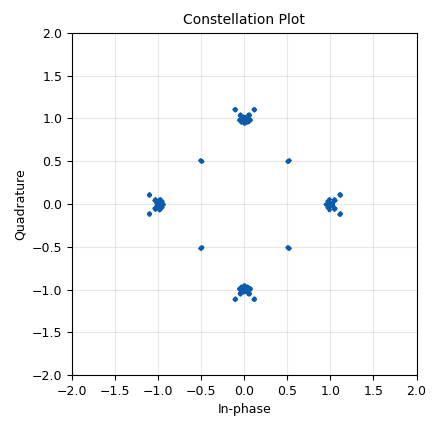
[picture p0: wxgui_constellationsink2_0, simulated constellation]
<?xml version='1.0' encoding='utf-8'?>
<flow_graph>
<block>
<key>options</key>
<param><key>id</key><value>top_block</value></param>
<param><key>generate_options</key><value>wx_gui</value></param>
<param><key>category</key><value>Custom</value></param>
</block>
<block>
<key>variable</key>
<param><key>id</key><value>gain</value></param>
<param><key>value</key><value>30</value></param>
</block>
<block>
<key>variable</key>
<param><key>id</key><value>freq</value></param>
<param><key>value</key><value>2.421e9</value></param>
</block>
<block>
<key>variable</key>
<param><key>id</key><value>samp_rate</value></param>
<param><key>value</key><value>320e3</value></param>
</block>
<block>
<key>analog_random_source_x</key>
<param><key>id</key><value>analog_random_source_x_0</value></param>
<param><key>type</key><value>byte</value></param>
<param><key>min</key><value>0</value></param>
<param><key>max</key><value>2</value></param>
<param><key>num_samps</key><value>10000000</value></param>
<param><key>repeat</key><value>True</value></param>
</block>
<block>
<key>digital_psk_mod</key>
<param><key>id</key><value>digital_psk_mod_0</value></param>
<param><key>constellation_points</key><value>4</value></param>
<param><key>mod_code</key><value>"gray"</value></param>
<param><key>differential</key><value>True</value></param>
<param><key>samples_per_symbol</key><value>2</value></param>
<param><key>excess_bw</key><value>350e-3</value></param>
</block>
<block>
<key>blocks_throttle</key>
<param><key>id</key><value>blocks_throttle_0</value></param>
<param><key>type</key><value>complex</value></param>
<param><key>samples_per_second</key><value>samp_rate</value></param>
</block>
<block>
<key>wxgui_constellationsink2</key>
<param><key>id</key><value>wxgui_constellationsink2_0</value></param>
<param><key>title</key><value>Constellation Plot</value></param>
<param><key>samp_rate</key><value>samp_rate</value></param>
<param><key>frame_rate</key><value>32</value></param>
<param><key>const_size</key><value>2048</value></param>
<param><key>M</key><value>4</value></param>
<param><key>theta</key><value>0</value></param>
<param><key>loop_bw</key><value>6.28/100.0</value></param>
<param><key>fmax</key><value>0.06</value></param>
<param><key>mu</key><value>0.5</value></param>
<param><key>gain_mu</key><value>0.005</value></param>
<param><key>symbol_rate</key><value>samp_rate/4.</value></param>
<param><key>omega_limit</key><value>0.005</value></param>
</block>
<block>
<key>uhd_usrp_sink</key>
<param><key>id</key><value>uhd_usrp_sink_0</value></param>
<param><key>type</key><value>fc32</value></param>
<param><key>sync</key><value></value></param>
<param><key>clock_rate</key><value>0.0</value></param>
<param><key>samp_rate</key><value>samp_rate</value></param>
<param><key>center_freq0</key><value>freq</value></param>
<param><key>gain0</key><value>gain</value></param>
<param><key>ant0</key><value>"TX/RX"</value></param>
<param><key>bw0</key><value>samp_rate</value></param>
<param><key>len_tag_name</key><value></value></param>
</block>
<connection><source_block_id>analog_random_source_x_0</source_block_id><sink_block_id>digital_psk_mod_0</sink_block_id><source_key>0</source_key><sink_key>0</sink_key></connection>
<connection><source_block_id>digital_psk_mod_0</source_block_id><sink_block_id>uhd_usrp_sink_0</sink_block_id><source_key>0</source_key><sink_key>0</sink_key></connection>
<connection><source_block_id>digital_psk_mod_0</source_block_id><sink_block_id>blocks_throttle_0</sink_block_id><source_key>0</source_key><sink_key>0</sink_key></connection>
<connection><source_block_id>blocks_throttle_0</source_block_id><sink_block_id>wxgui_constellationsink2_0</sink_block_id><source_key>0</source_key><sink_key>0</sink_key></connection>
</flow_graph>
